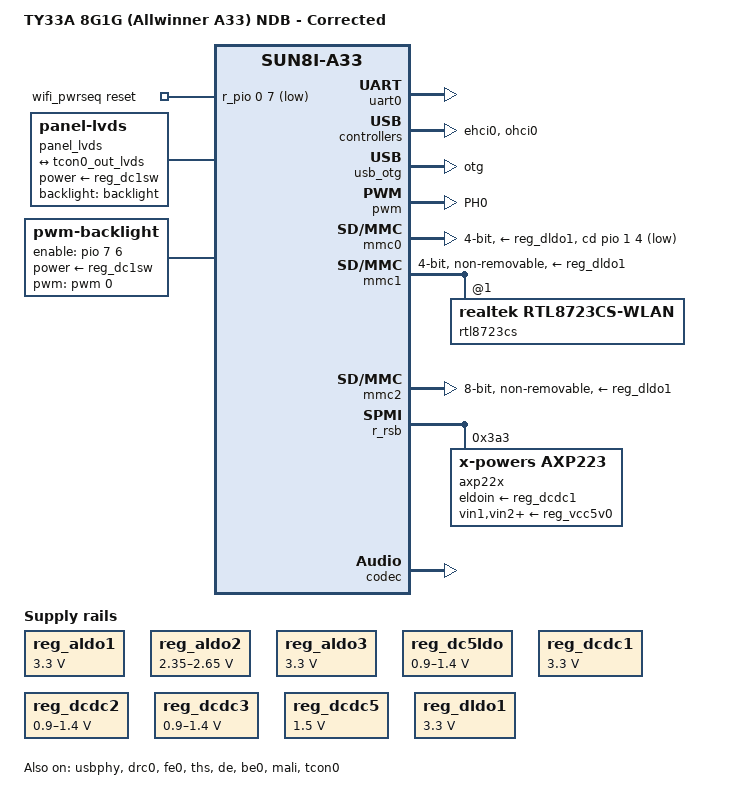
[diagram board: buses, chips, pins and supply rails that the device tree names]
/dts-v1/;
#include "sun8i-a33.dtsi"
#include "sunxi-common-regulators.dtsi"
#include <dt-bindings/gpio/gpio.h>
#include <dt-bindings/pwm/pwm.h>
#include <dt-bindings/interrupt-controller/irq.h>
#include <dt-bindings/input/input.h>

/ {
	model = "TY33A 8G1G (Allwinner A33) NDB - Corrected";
	compatible = "allwinner,sun8i-a33-tablet", "allwinner,sun8i-a33";

	aliases {
		serial0 = &uart0;
		mmc0    = &mmc0;
		mmc1    = &mmc1;
		mmc2    = &mmc2;
		usb-power-supply = &reg_vcc5v0;
		display0 = &display;
		/* Allow U-Boot to set MAC address for RTL8723CS (no eeprom) */
		ethernet0 = &rtl8723cs;
	};

	chosen { 
		stdout-path = "serial0:115200n8"; 
	};	/* ---------- simplefb handoff placeholders (U-Boot will 'okay' one) --- */
	display: framebuffer@0 {
		compatible = "allwinner,simple-framebuffer", "simple-framebuffer";
		allwinner,pipeline = "de_be0-lcd0";
		clocks = <&ccu CLK_BUS_LCD>, <&ccu CLK_BUS_DE_BE>, <&ccu CLK_LCD_CH0>,
			 <&ccu CLK_DE_BE>, <&ccu CLK_DRAM_DE_BE>;
		status = "disabled";
	};

	/* Keep a mixer path too; harmless if your SoC/DT doesn’t expose it */
	framebuffer@1 {
		compatible = "allwinner,simple-framebuffer", "simple-framebuffer";
		allwinner,pipeline = "mixer0-lcd0";
		status = "disabled";
	};

	wifi_pwrseq: wifi_pwrseq {
		compatible             = "mmc-pwrseq-simple";
		reset-gpios            = <&r_pio 0 7 GPIO_ACTIVE_LOW>;  /* PL7 */
		post-power-on-delay-ms = <200>;
	};

	/* --- LVDS panel (Samsung LTN154AT12) ----------------------------------- */
	panel_lvds: panel-lvds@0 {
		compatible    = "panel-lvds";
		power-supply  = <&reg_dc1sw>;
		backlight     = <&backlight>;
		data-mapping  = "jeida-18";
		bpc           = <6>;

		width-mm      = <331>;
		height-mm     = <207>;

		panel-timing {
			clock-frequency = <68544000>;
			hactive = <1280>; vactive = <800>;
			hfront-porch = <24>;  hback-porch = <64>;  hsync-len = <32>;
			vfront-porch = <3>;   vback-porch = <7>;   vsync-len = <6>;
			de-active      = <1>;
			hsync-active   = <0>;
			vsync-active   = <0>;
			pixelclk-active = <0>;
		};

		port {
			panel_lvds_in: endpoint {
				remote-endpoint = <&tcon0_out_lvds>;
			};
		};
	};

	/* --- LED back-light ----------------------------------------------------- */
	backlight: backlight {
		compatible          = "pwm-backlight";
		pwms                = <&pwm 0 20000 PWM_POLARITY_INVERTED>; /* PH0 → PWM0 */
		enable-gpios        = <&pio 7 6 GPIO_ACTIVE_HIGH>;          /* PH6 */
		power-supply        = <&reg_dc1sw>;
		brightness-levels   = <0 25 50 75 100 130 160 200 255>;
		default-brightness-level = <6>;
		default-state       = "on";
		pinctrl-names       = "default";
		pinctrl-0           = <&bl_en_pin>;
	};
};


/* ---------------- CPUs ---------------------------------------- */

&cpu0 {
	clock-frequency = <1200000000>;
};

&cpu1 {
	clock-frequency = <1200000000>;
};

&cpu2 {
	clock-frequency = <1200000000>;
};

&cpu3 {
	clock-frequency = <1200000000>;
};


/* ---------------- Per-IP enabling ---------------------------------------- */
&uart0   { status = "okay"; };

&ehci0 {
    status = "okay";
};

&ohci0 {
    status = "okay";
};

&usb_otg {
    dr_mode = "otg";
    status = "okay";
};

&usbphy {
    usb0_vbus-supply = <&reg_drivevbus>;
    usb1_vbus-supply = <&reg_vcc5v0>;  /* from sunxi-common-regulators.dtsi */
    status = "okay";
};

&drc0    { status = "okay"; };
&fe0     { status = "okay"; };

&pwm {
	pinctrl-names = "default";
	pinctrl-0 = <&pwm0_pins>;
	status = "okay";
};

&sound { status = "okay"; };
&ths   { status = "okay"; };

/* ---------------- MMC ----------------------------------------------------- */
&mmc0 {
	pinctrl-names  = "default";
	pinctrl-0      = <&mmc0_pins>;
	vmmc-supply    = <&reg_dldo1>;
	vqmmc-supply   = <&reg_dldo1>;
	bus-width      = <4>;
	cd-gpios       = <&pio 1 4 GPIO_ACTIVE_LOW>;  /* PB4 */
	status = "okay";
};

&mmc1 {
	pinctrl-names  = "default";
	pinctrl-0      = <&mmc1_pg_pins>;
	vmmc-supply    = <&reg_dldo1>;
	vqmmc-supply   = <&reg_aldo1>;
	mmc-pwrseq     = <&wifi_pwrseq>;
	bus-width      = <4>;
	non-removable;
	cap-sdio-irq;
	keep-power-in-suspend;
	status = "okay";

	rtl8723cs: wifi@1 {
		reg = <1>;
		compatible = "realtek,rtl8723cs-wlan";
	};
};

&mmc2 {
	pinctrl-names  = "default";
	pinctrl-0      = <&mmc2_8bit_pins>;
	vmmc-supply    = <&reg_dldo1>;
	vqmmc-supply   = <&reg_dldo1>;
	bus-width      = <8>;
	non-removable;
	cap-mmc-hw-reset;
	status = "okay";
};

/* ---------------- PMIC / regulators -------------------------------------- */
&r_rsb {
	status = "okay";

	axp22x: pmic@3a3 {
		compatible = "x-powers,axp223";
		reg = <0x3a3>;
		interrupt-parent = <&r_intc>;
		interrupts = <0 IRQ_TYPE_LEVEL_LOW>;
		eldoin-supply = <&reg_dcdc1>;
		x-powers,drive-vbus-en;
		vin1-supply = <&reg_vcc5v0>;
		vin2-supply = <&reg_vcc5v0>;
		vin3-supply = <&reg_vcc5v0>;
	};
};

#include "axp223.dtsi"

&reg_aldo1 {
	regulator-always-on;
	regulator-min-microvolt = <3300000>;
	regulator-max-microvolt = <3300000>;
	regulator-name = "vcc-io";
};

&reg_aldo2 {
	regulator-always-on;
	regulator-min-microvolt = <2350000>;
	regulator-max-microvolt = <2650000>;
	regulator-name = "vdd-dll";
};

&reg_aldo3 {
	regulator-always-on;
	regulator-min-microvolt = <3300000>;
	regulator-max-microvolt = <3300000>;
	regulator-name = "vcc-avcc";
};

&reg_dc1sw {
	regulator-name = "vcc-lcd";
	regulator-always-on;
};

&reg_dc5ldo {
	regulator-always-on;
	regulator-min-microvolt = <900000>;
	regulator-max-microvolt = <1400000>;
	regulator-name = "vdd-cpus";
};

&reg_dcdc1 {
	regulator-always-on;
	regulator-min-microvolt = <3300000>;
	regulator-max-microvolt = <3300000>;
	regulator-name = "vcc-3v3";
};

&reg_dcdc2 {
	regulator-always-on;
	regulator-min-microvolt = <900000>;
	regulator-max-microvolt = <1400000>;
	regulator-name = "vdd-sys";
};

&reg_dcdc3 {
	regulator-always-on;
	regulator-min-microvolt = <900000>;
	regulator-max-microvolt = <1400000>;
	regulator-name = "vdd-cpu";
};

&reg_dcdc5 {
	regulator-always-on;
	regulator-min-microvolt = <1500000>;
	regulator-max-microvolt = <1500000>;
	regulator-name = "vcc-dram";
};

&reg_dldo1 {
	regulator-name = "vcc-mmc";
	regulator-min-microvolt = <3300000>;
	regulator-max-microvolt = <3300000>;
	regulator-boot-on;
	regulator-always-on;
};

&reg_drivevbus {
	regulator-name = "usb0-vbus";
	status = "okay";
};

&reg_rtc_ldo {
	regulator-name = "vcc-rtc";
};

/* ---------------- Pin-mux ------------------------------------------------- */
&pio {
	status = "okay";
    vcc-pc-supply = <&reg_dcdc1>;   /* vcc-3v3 */
    vcc-pd-supply = <&reg_dcdc1>;
    vcc-pf-supply = <&reg_dcdc1>;
    vcc-pg-supply = <&reg_dcdc1>;

	vcc-pb-supply = <&reg_dldo1>;
	vcc-ph-supply = <&reg_dldo1>;

	/* Replace your old lvds0_pins node with this corrected version */
	lvds0_pins: lvds0_pins {
		pins = "PD18", "PD19", "PD20", "PD21", "PD22",
			"PD23", "PD24", "PD25", "PD26", "PD27";
		function = "lvds0";
	};

	pwm0_pins: pwm0_pins {
		pins     = "PH0";
		function = "pwm0";
	};

	bl_en_pin: bl_en_pin {
		pins     = "PH6";
		function = "gpio_out";
	};
};

/* ---------------- TCON / display engine ---------------------------------- */
&de    { status = "okay"; };
&be0   { status = "okay"; };
&codec { status = "okay"; };

&mali {
	operating-points-v2 = <&mali_opp_table>;
	status = "okay";
};

&be0_out {
	remote-endpoint = <&tcon0_in_be0>;
};

&tcon0 {
	status          = "okay";
	pinctrl-names   = "default";
	pinctrl-0       = <&lvds0_pins>;
	vdd-lcd-supply  = <&reg_dcdc1>;
	vcc-lvds-supply = <&reg_dldo1>;

	ports {
		#address-cells = <1>;
		#size-cells = <0>;

		port@0 {
			reg = <0>;
			tcon0_in_be0: endpoint { remote-endpoint = <&be0_out>; };
		};

		port@1 {
			reg = <1>;
			tcon0_out_lvds: endpoint {
				allwinner,tcon-channel = <0>;
				remote-endpoint = <&panel_lvds_in>;
			};
		};
	};
};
